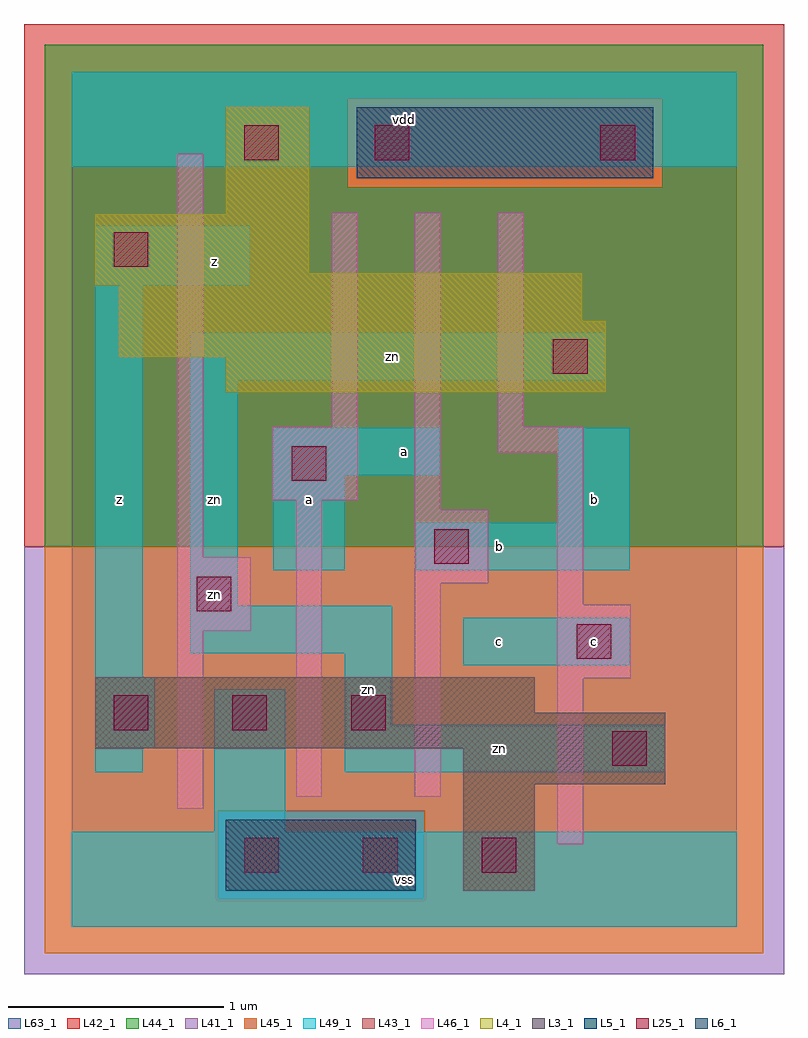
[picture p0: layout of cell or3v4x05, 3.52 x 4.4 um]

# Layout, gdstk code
import gdstk
lib = gdstk.Library(unit=1e-6, precision=1e-09)
def R(c, l, rs):  # rectangles x0, y0, x1, y1
    for r in rs: c.add(gdstk.rectangle(r[:2], r[2:], *l))
def A(c, l, x, y, w, h, nx, ny, dx, dy):  # array of equal rectangles
    R(c, l, [(x+i*dx, y+j*dy, x+i*dx+w, y+j*dy+h) for i in range(nx) for j in range(ny)])
L3_1 = (3, 1)
L4_1 = (4, 1)
L5_1 = (5, 1)
L6_1 = (6, 1)
L25_1 = (25, 1)
L41_1 = (41, 1)
L42_1 = (42, 1)
L43_1 = (43, 1)
L44_1 = (44, 1)
L45_1 = (45, 1)
L46_1 = (46, 1)
L49_1 = (49, 1)
L63_1 = (63, 1)

or3v4x05 = lib.new_cell('or3v4x05')
R(or3v4x05, L3_1, [(1.815,0.165,2.145,0.66), (1.815,0.66,2.75,0.825), (0.11,0.825,2.75,0.99), (0.11,0.99,2.145,1.155)])
R(or3v4x05, L4_1, [(0.715,2.475,2.475,2.64), (0.22,2.64,2.475,2.805), (0.22,2.805,2.365,2.97), (0.11,2.97,2.365,3.025), (0.11,3.025,1.1,3.3), (0.715,3.3,1.1,3.795)])
R(or3v4x05, L5_1, [(1.32,3.465,2.695,3.795)])
R(or3v4x05, L6_1, [(0.715,0.165,1.595,0.495)])
A(or3v4x05, L25_1, 0.8, 0.25, 0.16, 0.16, 3, 1, 0.55, 0)
A(or3v4x05, L25_1, 0.195, 0.91, 0.16, 0.16, 3, 1, 0.55, 0)
R(or3v4x05, L25_1, [(2.505,0.745,2.665,0.905), (2.34,1.24,2.5,1.4), (0.58,1.46,0.74,1.62), (1.68,1.68,1.84,1.84), (1.02,2.065,1.18,2.225), (2.23,2.56,2.39,2.72), (0.195,3.055,0.355,3.215), (0.8,3.55,0.96,3.71), (1.405,3.55,1.565,3.71), (2.45,3.55,2.61,3.71)])
R(or3v4x05, L41_1, [(-0.22,-0.22,3.3,1.76)])
R(or3v4x05, L42_1, [(-0.22,1.76,3.3,4.18)])
R(or3v4x05, L43_1, [(0.715,0.165,1.595,0.495), (1.815,0.165,2.145,0.66), (1.815,0.66,2.75,0.825), (0.11,0.825,2.75,0.99), (0.11,0.99,2.145,1.155), (0.715,2.475,2.475,2.64), (0.22,2.64,2.475,2.805), (0.22,2.805,2.365,2.97), (0.11,2.97,2.365,3.025), (0.11,3.025,1.1,3.3), (0.715,3.3,1.1,3.795), (1.32,3.465,2.695,3.795)])
R(or3v4x05, L44_1, [(0.675,0.125,1.635,0.535), (-0.125,1.76,3.205,3.425), (-0.125,3.425,1.28,3.835), (2.735,3.425,3.205,3.835), (-0.125,3.835,3.205,4.085)])
R(or3v4x05, L45_1, [(-0.125,-0.125,3.205,0.125), (-0.125,0.125,0.675,0.535), (1.635,0.125,3.205,0.535), (-0.125,0.535,3.205,1.76), (1.28,3.425,2.735,3.835)])
R(or3v4x05, L46_1, [(2.25,0.38,2.37,1.15), (0.49,0.545,0.61,1.37), (1.04,0.6,1.16,1.975), (1.59,0.6,1.71,1.59), (2.25,1.15,2.59,1.49), (0.49,1.37,0.83,1.71), (2.25,1.49,2.37,2.195), (1.59,1.59,1.93,1.93), (0.49,1.71,0.61,3.58), (1.59,1.93,1.71,3.305), (0.93,1.975,1.325,2.315), (1.975,2.195,2.37,2.315), (1.205,2.315,1.325,3.305), (1.975,2.315,2.095,3.305)])
R(or3v4x05, L49_1, [(0,0,3.08,0.44), (0.66,0.44,0.99,1.1), (0.11,0.715,0.33,0.825), (1.265,0.715,2.75,0.935), (0.11,0.825,0.385,1.155), (1.265,0.935,1.485,1.265), (0.11,1.155,0.33,2.97), (1.815,1.21,2.585,1.43), (0.55,1.265,1.485,1.485), (0.55,1.485,0.77,2.53), (0.935,1.65,1.265,2.09), (1.595,1.65,2.585,1.87), (2.255,1.87,2.585,2.31), (0.935,2.09,1.705,2.31), (0.55,2.53,2.475,2.75), (0.11,2.97,0.825,3.245), (0,3.52,3.08,3.96)])
R(or3v4x05, L63_1, [(0,0,3.08,3.96)])
or3v4x05.add(gdstk.Label('zn', (0.66,1.54), layer=49, texttype=1))
or3v4x05.add(gdstk.Label('z', (0.22,1.98), layer=49, texttype=1))
or3v4x05.add(gdstk.Label('zn', (1.375,1.1), layer=49, texttype=1))
or3v4x05.add(gdstk.Label('a', (1.1,1.98), layer=49, texttype=1))
or3v4x05.add(gdstk.Label('zn', (0.66,1.98), layer=49, texttype=1))
or3v4x05.add(gdstk.Label('z', (0.66,3.08), layer=49, texttype=1))
or3v4x05.add(gdstk.Label('vss', (1.54,0.22), layer=49, texttype=1))
or3v4x05.add(gdstk.Label('c', (1.98,1.32), layer=49, texttype=1))
or3v4x05.add(gdstk.Label('b', (1.98,1.76), layer=49, texttype=1))
or3v4x05.add(gdstk.Label('a', (1.54,2.2), layer=49, texttype=1))
or3v4x05.add(gdstk.Label('vdd', (1.54,3.74), layer=49, texttype=1))
or3v4x05.add(gdstk.Label('zn', (1.98,0.825), layer=49, texttype=1))
or3v4x05.add(gdstk.Label('c', (2.42,1.32), layer=49, texttype=1))
or3v4x05.add(gdstk.Label('b', (2.42,1.98), layer=49, texttype=1))
or3v4x05.add(gdstk.Label('zn', (1.485,2.64), layer=49, texttype=1))

lib.write_gds('or3v4x05.gds')
